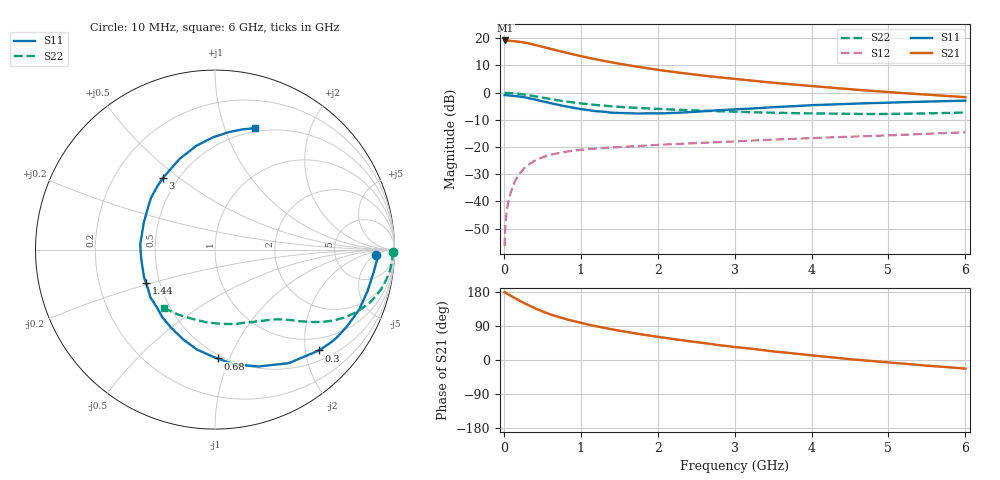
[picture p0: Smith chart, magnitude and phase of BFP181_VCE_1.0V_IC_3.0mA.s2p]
! Infineon Technologies  Discrete & RF Semiconductors
! BFP181
! VCE = 1.0 V,  IC =  3.0 mA
! Common Emitter S-Parameters:  Jan 2016
# GHz  S  MA  R  50
!  f  S11  S21  S12  S22
! GHz  MAG  ANG  MAG  ANG  MAG  ANG  MAG  ANG
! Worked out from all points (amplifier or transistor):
!   210 points, 10 MHz to 6 GHz, reference 50 ohm
!   highest |S21| = 19.2 dB at 20 MHz (marker M1)
!   |S21| within 3 dB of that: start of sweep to 603.9 MHz
!   unconditionally stable (mu >= 1): 1.901 GHz to end of sweep
!   at 185 MHz: K = 0.14, MSG = 24.7 dB, |S12| = -30.6 dB
!   at 1.52 GHz: K = 0.87, MSG = 15.3 dB, |S12| = -20.0 dB
!   at 6 GHz: K = 1.16, MAG = 4.1 dB, |S12| = -14.6 dB
!   S11 on the Smith chart (normalised r, x): 10 MHz: 17, -5; 300 MHz: 0.71, -2.28; 680 MHz: 0.47, -0.91; 1.44 GHz: 0.42, -0.19; 3 GHz: 0.41, +0.44; 6 GHz: 0.46, +1.28
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0.01  0.8981 -1.8  9.108 179.1  0.0015 87.1  0.9924 -0.7
0.02  0.9058 -3.2  9.134 178.2  0.0033 88.6  0.9864 -1.3
0.04  0.8979 -6.0  9.086 175.5  0.0068 88.3  0.9882 -2.8
0.065  0.8888 -9.7  9.015 172.5  0.0108 84.9  0.9867 -4.5
0.19  0.8535 -28.6  8.685 158.0  0.0302 73.4  0.955 -12.8
0.24  0.8369 -35.8  8.463 152.5  0.037 69.9  0.9349 -15.8
0.3  0.8071 -44.1  8.202 146.8  0.0453 65.6  0.909 -19.2
0.4  0.7546 -57.0  7.615 136.7  0.056 58.8  0.8609 -24.0
0.5  0.695 -69.6  7.002 128.1  0.0647 52.9  0.8121 -27.9
0.6  0.6465 -80.8  6.49 120.7  0.0717 48.3  0.7658 -31.1
0.68  0.6068 -88.6  6.027 115.6  0.0759 45.5  0.7332 -33.2
0.8  0.5649 -100.5  5.501 108.1  0.0814 41.4  0.6903 -35.8
1.02  0.4939 -121.0  4.639 96.9  0.0892 36.6  0.631 -39.4
1.18  0.4593 -134.2  4.158 89.7  0.0936 33.7  0.5973 -41.5
1.44  0.4265 -154.4  3.535 79.6  0.0988 30.9  0.5559 -44.6
1.72  0.4138 -173.2  3.026 69.9  0.1042 28.9  0.5258 -47.7
2.02  0.4157 168.7  2.611 60.7  0.1099 27.1  0.5012 -51.2
3  0.4933 126.2  1.793 34.3  0.1267 23.1  0.4438 -65.7
3.1  0.5002 123.0  1.734 32.3  0.1287 22.7  0.44 -67.5
4.1  0.5946 98.2  1.289 10.2  0.1479 18.2  0.4126 -87.4
5.1  0.6635 82.1  1.002 -8.1  0.166 13.8  0.4067 -110.3
6  0.7131 71.7  0.827 -22.7  0.1865 9.2  0.4324 -131.0
